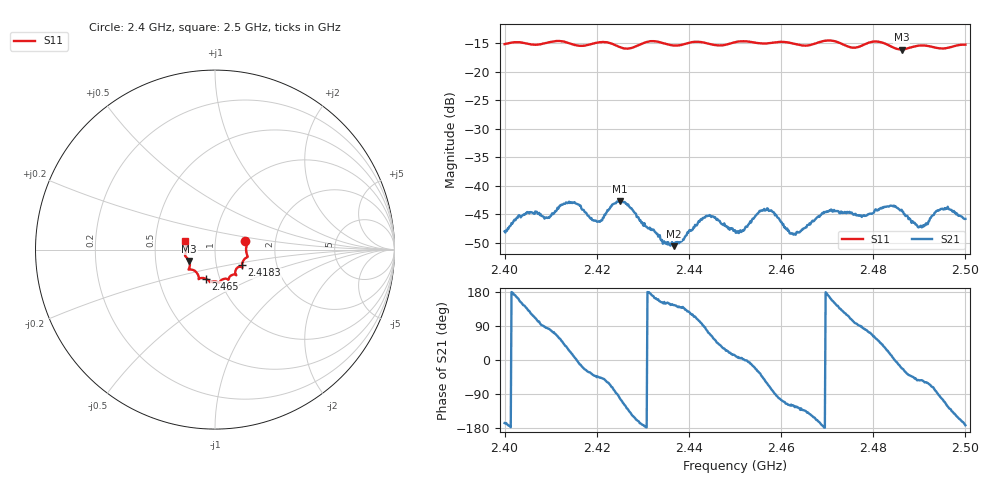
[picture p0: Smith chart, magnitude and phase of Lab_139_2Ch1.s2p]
# Hz S RI R 50
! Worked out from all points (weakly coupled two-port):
!   601 points, 2.4 GHz to 2.5 GHz, reference 50 ohm
!   highest |S21| = -42.68 dB at 2.425 GHz (marker M1); lowest = -50.6 dB at 2.4367 GHz (marker M2)
!   lowest |S11| = -16.1 dB at 2.4862 GHz (marker M3), VSWR 1.37, Z = 37.2 - j4.81 ohm
!   |S11| at or under -10 dB: start of sweep to end of sweep
!   S12 and S22 are empty: the file has one direction only
!   S11 on the Smith chart (normalised r, x): 2.4 GHz: 1.40, +0.14; 2.4183 GHz: 1.33, -0.24; 2.465 GHz: 0.86, -0.29; 2.5 GHz: 0.71, +0.07
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2.4e9  0.1688 0.0471  -0.00386 -0.000931  0 0  0 0
2.405e9  0.1753 0.0193  -0.004 0.0043  0 0  0 0
2.409167e9  0.1777 -0.0282  0.000501 0.0052  0 0  0 0
2.416667e9  0.1547 -0.0683  0.00606 -0.00172  0 0  0 0
2.418333e9  0.1501 -0.0869  0.00454 -0.00287  0 0  0 0
2.420667e9  0.1524 -0.0996  0.00329 -0.00352  0 0  0 0
2.425e9  0.1344 -0.0957  -0.00138 -0.00722  0 0  0 0
2.433333e9  0.1176 -0.1408  -0.00336 0.00121  0 0  0 0
2.436667e9  0.0938 -0.1423  -0.00241 0.0017  0 0  0 0
2.444167e9  0.0676 -0.1636  0.00164 0.00518  0 0  0 0
2.45e9  0.0262 -0.1803  0.00398 0.000846  0 0  0 0
2.456667e9  -0.00674 -0.1773  0.00331 -0.00517  0 0  0 0
2.462333e9  -0.0323 -0.1753  -0.00194 -0.00331  0 0  0 0
2.465e9  -0.0524 -0.1616  -0.00289 -0.00309  0 0  0 0
2.466667e9  -0.0714 -0.1579  -0.00405 -0.00265  0 0  0 0
2.4705e9  -0.0911 -0.165  -0.0059 0.00144  0 0  0 0
2.478e9  -0.133 -0.1114  0.000771 0.00546  0 0  0 0
2.483333e9  -0.1413 -0.0967  0.00614 0.0023  0 0  0 0
2.486167e9  -0.1438 -0.0632  0.00571 -0.00228  0 0  0 0
2.490167e9  -0.1662 -0.0367  0.00259 -0.00352  0 0  0 0
2.495e9  -0.1604 0.00308  -0.0015 -0.0061  0 0  0 0
2.5e9  -0.1669 0.047  -0.00506 -0.000691  0 0  0 0
